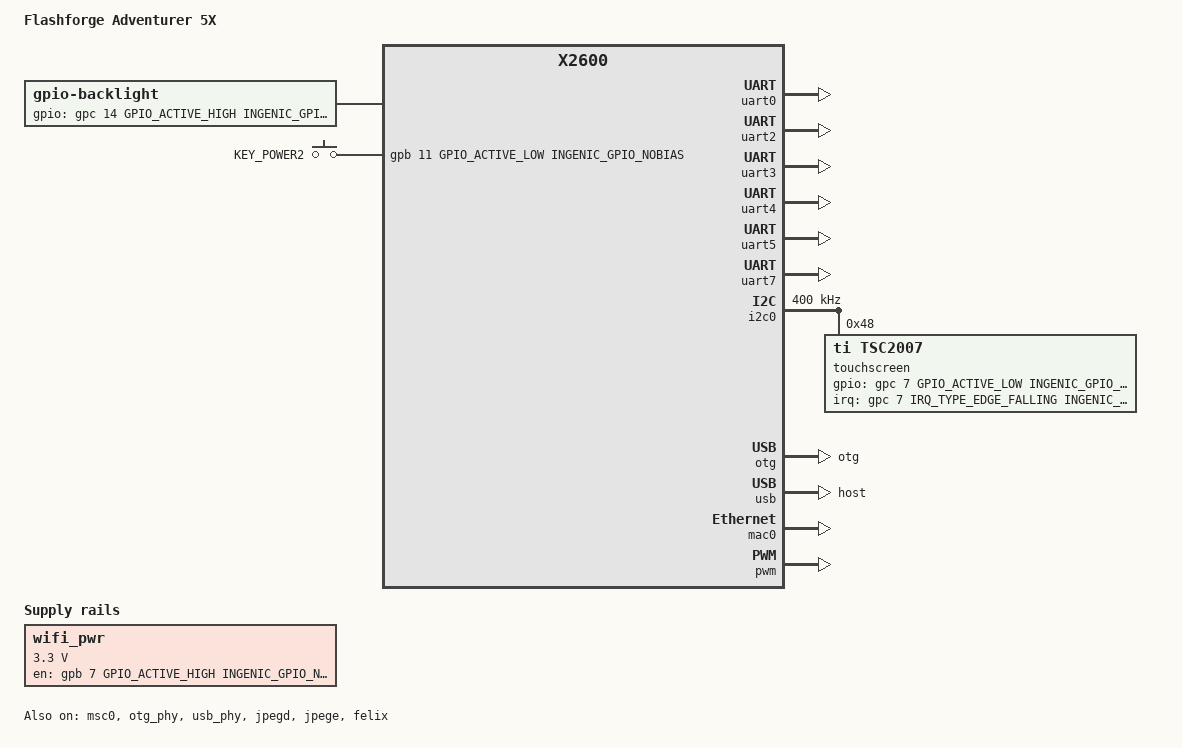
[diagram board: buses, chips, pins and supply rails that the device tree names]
// SPDX-License-Identifier: GPL-2.0
/*
 * Flashforge Adventurer 5X (AD5X) mainboard, Ingenic X2600 - for the
 * Ingenic X2600 SDK Linux 6.6 kernel (module_drivers/ vendor drivers).
 *
 * Runs on the AD5X (chainload, 2026-10-17). Built into the kernel (INGENIC_BUILTIN_DTB) through
 * DT_X2600_MODULE_BASE / DT_X2600_MODULE_BASE_DTS_FILE="x2600/ad5x.dts";
 * ad5x/build.sh copies this file and ad5x-display.dtsi into
 * module_drivers/dts/x2600/.
 *
 * Source of truth: the device tree built into the stock 5.10 kernel
 * (decompiled, see kernel-mainline/dts/reference/x2600-ad5x-stock-5.10.dts
 * in ad5xrecon) plus the stock out-of-tree module parameters
 * (/module_driver/*.sh, app_startup.sh). Every deviation from the stock DT
 * is marked "DEVIATION".
 *
 * Boot contract with the stock SPL (no DTB passed, fixed command line):
 *   console=ttyS0,115200n8 ... mem=... rmem=... rtos_size=4M@0xfc00000
 *   root=/dev/mmcblk0pN rootwait rootfstype=squashfs ro lpj=11935744
 * so: no /chosen bootargs here (MIPS_CMDLINE_FROM_DTB falls back to the
 * SPL's argv when the DT has none), uart0 = ttyS0, msc0 = mmc0, and no
 * /memory node (as stock: the SPL's mem= describes RAM).
 */
/dts-v1/;

#include <dt-bindings/input/input.h>
#include <dt-bindings/interrupt-controller/irq.h>
#include "x2600.dtsi"		/* also pulls in x2600-pinctrl.dtsi */

/ {
	compatible = "flashforge,ad5x", "ingenic,x2600";
	model = "Flashforge Adventurer 5X";

	/*
	 * Aliases come from x2600.dtsi and are identical to stock
	 * (uart0..7, i2c0..3, mmc0/1, mac0, spi0/1, can0/1). ingenic_uart
	 * numbers ports from the "uartN" alias, so ttyS0/2/3/4/5/7 match stock:
	 *   ttyS0 debug console, ttyS2 motion MCU, ttyS3 ?, ttyS4 IFS (RS-485),
	 *   ttyS5 eboard, ttyS7 weighing board.
	 */

	/*
	 * DEVIATION: stock DT has no reserved-memory. Stock reserves the
	 * RISC-V RTOS area in userspace/out-of-tree (rmem_manager.ko reads
	 * rtos_size=4M@0xfc00000 from /proc/cmdline); this 6.6 kernel parses
	 * neither rmem= nor rtos_size=. Keep the RTOS's 4 MiB out of Linux'
	 * hands. Harmless if the SPL's mem= already excludes it.
	 */
	reserved-memory {
		#address-cells = <1>;
		#size-cells = <1>;
		ranges;

		rtos@fc00000 {
			reg = <0x0fc00000 0x00400000>;
			no-map;
		};
	};

	/*
	 * DEVIATION (stock: gpio_backlight.ko backlight_gpio=PC14
	 * gpio_active_level=1 backlight_enabled=0). Starts off like stock;
	 * userspace turns it on via /sys/class/backlight/.
	 */
	backlight: backlight {
		compatible = "gpio-backlight";
		gpios = <&gpc 14 GPIO_ACTIVE_HIGH INGENIC_GPIO_NOBIAS>;
	};

	/*
	 * DEVIATION (stock: keyboard_gpio_add.ko gpio=PB11 key_code=0x164
	 * KEY_POWER2 active_level=0).
	 */
	gpio-keys {
		compatible = "gpio-keys";

		key-power2 {
			label = "KEY_POWER2";
			gpios = <&gpb 11 GPIO_ACTIVE_LOW INGENIC_GPIO_NOBIAS>;
			linux,code = <KEY_POWER2>;
			debounce-interval = <20>;
		};
	};

	/*
	 * DEVIATION / ASSUMPTION: stock powers the RTL8821CU with
	 * "insmod 8821cu.ko power_on=PB07" (and firmwareExe toggles PB07 in
	 * restartWifiDevice). In-tree rtw88_8821cu has no such parameter, so
	 * hold PB07 on here. Active-high is assumed (Realtek's Ingenic platform
	 * glue drives power_on high) - VERIFY with a multimeter or stock's
	 * /sys/class/gpio state before relying on it.
	 */
	wifi_pwr: regulator-wifi {
		compatible = "regulator-fixed";
		regulator-name = "wifi-power";
		regulator-min-microvolt = <3300000>;
		regulator-max-microvolt = <3300000>;
		gpio = <&gpb 7 GPIO_ACTIVE_HIGH INGENIC_GPIO_NOBIAS>;
		enable-active-high;
		regulator-always-on;
		regulator-boot-on;
	};

	/*
	 * Not described (left to userspace, as stock): PC11 heartbeat
	 * (gpio_regulator.ko "GPIO-POWER0", toggled 1 Hz by sys_start.sh),
	 * PC15 (set to output 0 by app_startup.sh), PB17/PB18 (MCU NRST/BOOT0
	 * for flashing), PB02/PB03.
	 */
};

&pinctrl {
	/* As stock: GPIO port A and the port E/MSC0 domain run at 1.8 V. */
	ingenic,gpa_voltage = <GPIO_VOLTAGE_1V8>;
	ingenic,gpe_msc_voltage = <GPIO_VOLTAGE_1V8>;
};

/* ---- UARTs: exactly stock's enabled set and pinmux ---- */

&uart0 {	/* ttyS0 console, PE9-PE12 f1 (port E is the 1.8 V domain) */
	status = "okay";
	pinctrl-names = "default";
	pinctrl-0 = <&uart0_pe>;
};

&uart2 {	/* ttyS2 motion MCU, PD12/PD13 f0 */
	status = "okay";
	pinctrl-names = "default";
	pinctrl-0 = <&uart2_pd>;
};

&uart3 {	/* ttyS3, PB22/PB23 f1 */
	status = "okay";
	pinctrl-names = "default";
	pinctrl-0 = <&uart3_pb>;
};

&uart4 {	/* ttyS4 IFS, PB24/PB25 f1, RS-485 driver enable on PC3 */
	status = "okay";
	pinctrl-names = "default";
	pinctrl-0 = <&uart4_pb>;
	/*
	 * Kept verbatim from stock (<&gpc 3 0 4>: active high, INGENIC_GPIO_HIZ).
	 * WARNING: the 6.6 SDK ingenic_uart.c does NOT parse this property
	 * (stock 5.10's did). Without a driver patch (or userspace driving
	 * PC3 around each transmit) the IFS gets no replies.
	 */
	ingenic,rs485-tx-enable-gpio = <&gpc 3 GPIO_ACTIVE_HIGH INGENIC_GPIO_HIZ>;
};

&uart5 {	/* ttyS5 eboard (toolhead), PB26/PB27 f1 */
	status = "okay";
	pinctrl-names = "default";
	pinctrl-0 = <&uart5_pb>;
};

&uart7 {	/* ttyS7 weighing board, PC4/PC5 f1 */
	status = "okay";
	pinctrl-names = "default";
	pinctrl-0 = <&uart7_pc>;
};

/* ---- I2C ---- */

/*
 * DEVIATION: stock DT leaves i2c0 disabled and drives it from the
 * out-of-tree soc_i2c.ko (i2c0_is_enable=1 i2c0_rate=400000 PC00/PC01).
 * Here the in-tree ingenic I2C driver takes it, with the touch controller.
 */
&i2c0 {
	status = "okay";
	clock-frequency = <400000>;
	pinctrl-names = "default";
	pinctrl-0 = <&i2c0_pc>;

	/*
	 * Mainline TI binding (drivers/input/touchscreen/tsc2007_core.c).
	 * Stock: tsc2007_touch.ko tsc_irq_gpio=PC07 tsc_i2c_addr=0x48
	 * tsc_x_plate_ohms=660 tsc_max_rt=600 fuzz 0, poll 0, y flipped.
	 * Mainline reports raw 0..4095 and has no flip/size properties:
	 * calibrate in userspace (tslib/HelixScreen), stock flips Y.
	 */
	touchscreen@48 {
		compatible = "ti,tsc2007";
		reg = <0x48>;
		interrupt-parent = <&gpc>;
		interrupts = <7 IRQ_TYPE_EDGE_FALLING INGENIC_GPIO_NOBIAS>;
		gpios = <&gpc 7 GPIO_ACTIVE_LOW INGENIC_GPIO_NOBIAS>;	/* PENIRQ */
		ti,x-plate-ohms = <660>;
		ti,max-rt = <600>;
	};
};

/*
 * DEVIATION: stock leaves i2c3 "okay" (SoC dtsi default) with no pinmux
 * and no clients; its candidate pins PC21/PC22 are RMII pins here.
 */
&i2c3 {
	status = "disabled";
};

/* ---- eMMC: as stock ---- */

&msc0 {
	status = "okay";
	pinctrl-names = "default";
	pinctrl-0 = <&msc0_8bit_low>, <&msc0_8bit_high>;
	pinctrl-1 = <&msc0_8bit_high>;
	mmc-hs200-1_8v;
	non-removable;
	max-frequency = <50000000>;	/* stock was 25000000; 50 MHz step under test (HS200 negotiated, measured ~21 MiB/s at 25 MHz) */
	bus-width = <8>;
	voltage-ranges = <1800 3300>;
	ingenic,rst-gpios = <0>;
};

/* ---- USB: as stock (OTG port + host-only port with the RTL8821CU) ---- */

&otg_phy {
	status = "okay";
	external-vbus-detect;	/* stock has it; SDK dtsi only under #ifdef */
};

&usb_phy {
	status = "okay";
};

&otg {
	status = "okay";
	dr_mode = "otg";
};

&usb {
	status = "okay";
	dr_mode = "host";
};

/* ---- Ethernet ---- */

/*
 * DEVIATION: stock's mac0 node is bare (no pinctrl, no mode) because the
 * out-of-tree soc_mac_driver.ko does the work (phy_probe_mask=0 = scan,
 * phy_reset_gpio=-1, phy_power_gpio=-1, virtual phy off). Configured here
 * for the SDK in-tree ingenic_mac in RMII mode like the SDK boards, minus
 * the PHY reset GPIO (stock has none) and minus mac0_phy_clk (PC15):
 * stock's app_startup.sh drives PC15 as a plain GPIO output 0, so the
 * 50 MHz RMII reference most likely comes from the PHY, not the SoC.
 * UNVERIFIED: PHY part/address and the reference-clock direction.
 */
&mac0 {
	status = "okay";
	pinctrl-names = "default";
	pinctrl-0 = <&mac0_rmii_p0_normal>, <&mac0_rmii_p1_normal>;
	ingenic,rst-ms = <10>;
	ingenic,mac-mode = <RMII>;
	ingenic,mode-reg = <0xb00000e4>;
	ingenic,phy-clk-freq = <50000000>;
};

/*
 * DEVIATION: stock leaves sfc (SPI NOR/NAND controller) enabled by default;
 * the AD5X boots from eMMC and the SFC pins PD0-PD5 are the MSC0 pins.
 */
&sfc {
	status = "disabled";
};

/* ---- DMA, media blocks: as stock ---- */

&pdma {
	status = "okay";
};

&pdma1 {	/* ahb_mcu PDMA: stock enables it (PWM/SADC DMA) */
	status = "okay";
};

&jpegd {
	status = "okay";
};

&jpege {
	status = "okay";
};

&felix {
	status = "okay";
};

/* Speaker: a piezo on PC12 = PWM channel 13 (stock plays its tone tables
 * there; x2600-pinctrl.dtsi pwm13_pc). The PWM driver doesn't mux pins
 * itself, so without this the channel runs but PC12 stays a GPIO.
 * Userspace: /sys/class/pwm/pwmchip0/pwm13 (S35ad5x-sound, ad5x-sound,
 * HelixScreen). Never write the channel's "polarity": this driver applies
 * it to channel 0. */
&pwm {
	pinctrl-names = "default";
	pinctrl-0 = <&pwm13_pc>;
	status = "okay";
};

/* Display: DPU + LVDS panel. */
#include "ad5x-display.dtsi"
